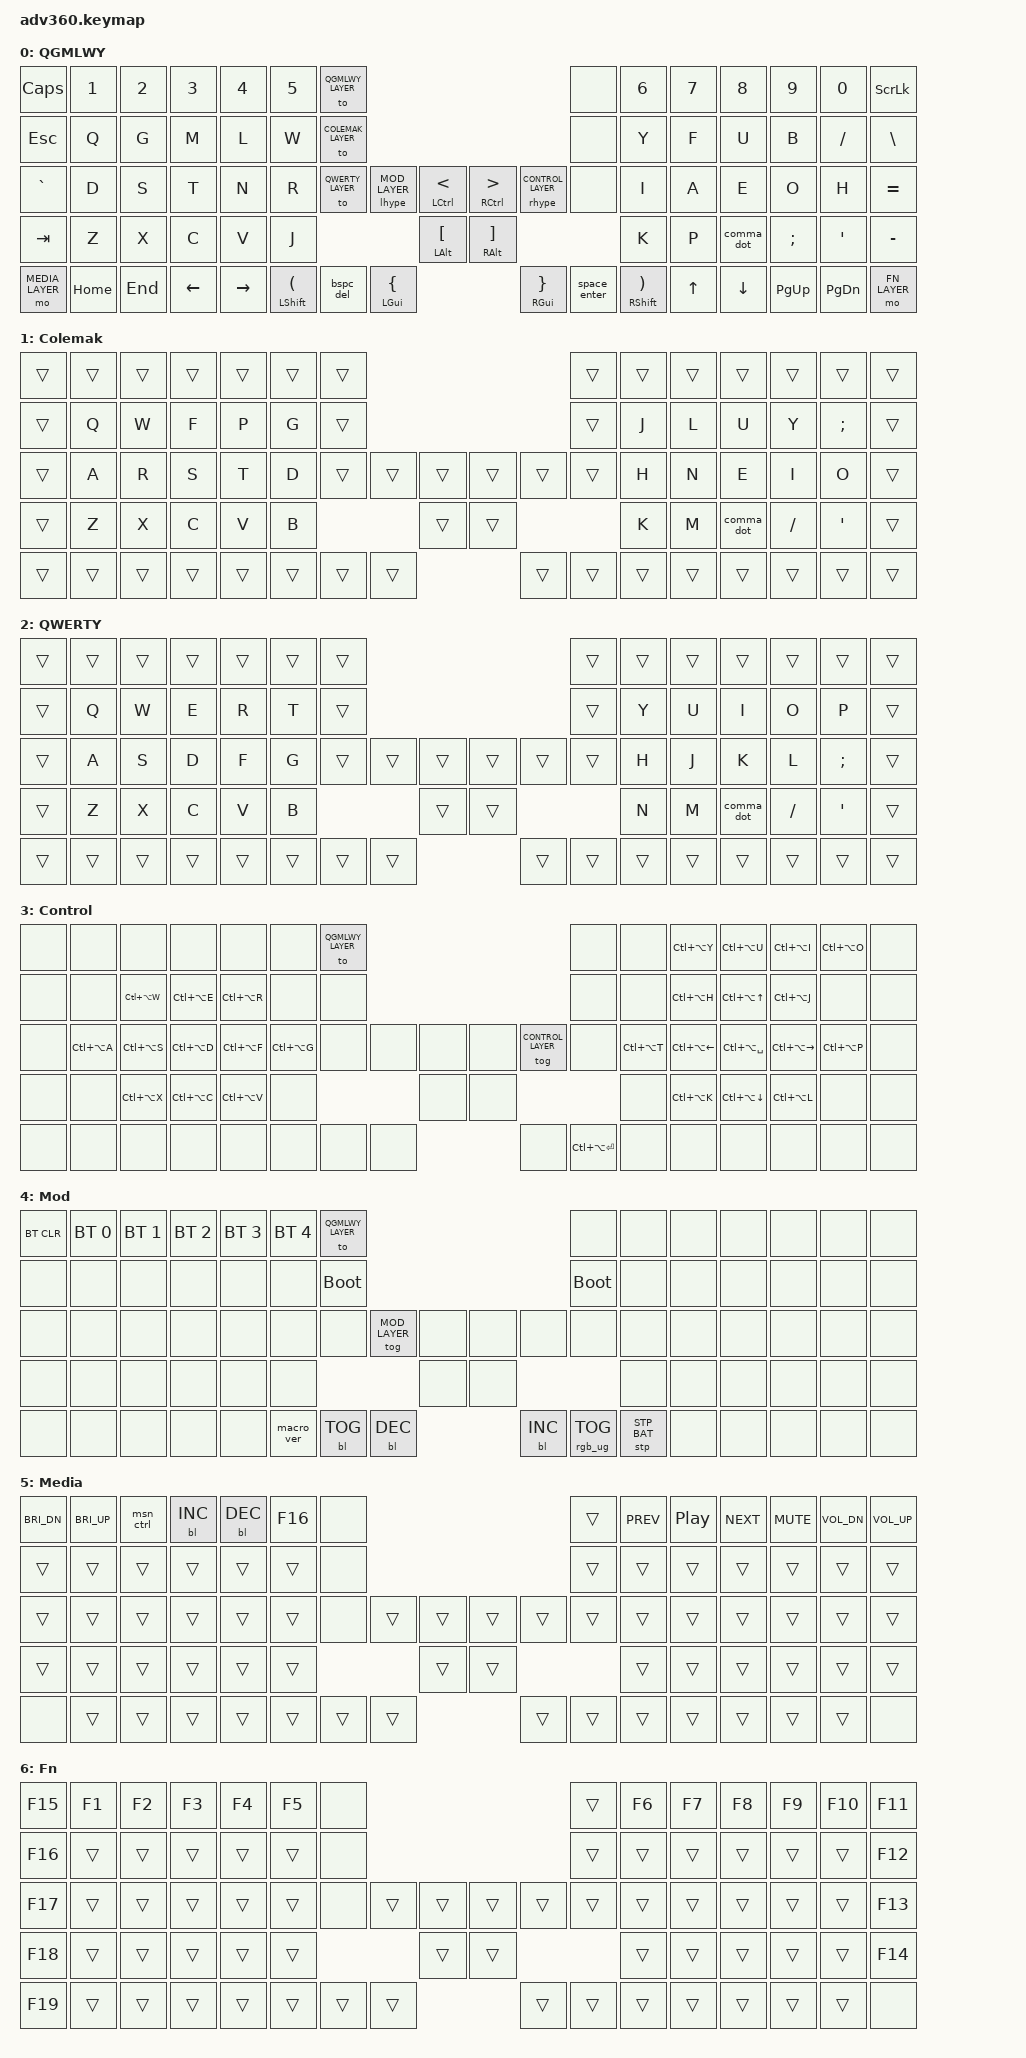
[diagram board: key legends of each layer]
// Visualize at: https://nickcoutsos.github.io/keymap-editor/

#include <behaviors.dtsi>
#include <dt-bindings/zmk/keys.h>
#include <dt-bindings/zmk/bt.h>
#include <dt-bindings/zmk/rgb.h>
#include <dt-bindings/zmk/stp.h>
#include <dt-bindings/zmk/backlight.h>
#include <dt-bindings/zmk/pointing.h>

#define QGMLWY_LAYER  0
#define COLEMAK_LAYER 1
#define QWERTY_LAYER  2
#define CONTROL_LAYER 3
#define MOD_LAYER     4
#define MEDIA_LAYER   5
#define FN_LAYER      6

/ {
    behaviors {
        #include "macros.dtsi"
        #include "version.dtsi"

        comma_dot: comma_dot {
            compatible = "zmk,behavior-mod-morph";
            #binding-cells = <0>;
            bindings = <&kp COMMA>, <&kp DOT>;
            mods = <(MOD_LSFT|MOD_RSFT)>;
        };

        bspc_del: backspace_delete {
            compatible = "zmk,behavior-mod-morph";
            #binding-cells = <0>;
            bindings = <&kp BACKSPACE>, <&kp DELETE>;
            mods = <(MOD_LSFT|MOD_RSFT)>;
            keep-mods = <(MOD_LSFT)>;
        };

        space_enter: space_enter {
            compatible = "zmk,behavior-mod-morph";
            #binding-cells = <0>;
            bindings = <&kp SPACE>, <&kp ENTER>;
            mods = <(MOD_LSFT|MOD_RSFT)>;
            keep-mods = <(MOD_RSFT)>;
        };

        mt2: mod_tap2 {
            compatible = "zmk,behavior-hold-tap";
            #binding-cells = <2>;
            flavor = "hold-preferred";
            tapping-term-ms = <200>;
            bindings = <&kp>, <&kp>;
            /* Ignore thumb keys. */
            hold-trigger-key-positions
                = <0>,  <1>,  <2>,  <3>,  <4>,  <5>,  <6>,              <7>,  <8>,  <9>,  <10>, <11>, <12>, <13>
                , <14>, <15>, <16>, <17>, <18>, <19>, <20>,             <21>, <22>, <23>, <24>, <25>, <26>, <27>
                , <28>, <29>, <30>, <31>, <32>, <33>, <34>,             <39>, <40>, <41>, <42>, <43>, <44>, <45>
                , <46>, <47>, <48>, <49>, <50>, <51>,                         <54>, <55>, <56>, <57>, <58>, <59>
                , <60>, <61>, <62>, <63>, <64>,             <66>, <69>,             <71>, <72>, <73>, <74>, <75>
                ;
        };

        lhypet: left_hyper_hold_toggle {
            compatible = "zmk,behavior-hold-tap";
            #binding-cells = <2>;
            flavor = "hold-preferred";
            tapping-term-ms = <200>;
            bindings = <&lhype>, <&tog>;
            /* Ignore thumb keys. */
            hold-trigger-key-positions
                = <0>,  <1>,  <2>,  <3>,  <4>,  <5>,  <6>,              <7>,  <8>,  <9>,  <10>, <11>, <12>, <13>
                , <14>, <15>, <16>, <17>, <18>, <19>, <20>,             <21>, <22>, <23>, <24>, <25>, <26>, <27>
                , <28>, <29>, <30>, <31>, <32>, <33>, <34>,             <39>, <40>, <41>, <42>, <43>, <44>, <45>
                , <46>, <47>, <48>, <49>, <50>, <51>,                         <54>, <55>, <56>, <57>, <58>, <59>
                , <60>, <61>, <62>, <63>, <64>,             <66>, <69>,             <71>, <72>, <73>, <74>, <75>
                ;
        };

        rhypet: right_hyper_hold_toggle {
            compatible = "zmk,behavior-hold-tap";
            #binding-cells = <2>;
            flavor = "hold-preferred";
            tapping-term-ms = <200>;
            bindings = <&rhype>, <&tog>;
            /* Ignore thumb keys. */
            hold-trigger-key-positions
                = <0>,  <1>,  <2>,  <3>,  <4>,  <5>,  <6>,              <7>,  <8>,  <9>,  <10>, <11>, <12>, <13>
                , <14>, <15>, <16>, <17>, <18>, <19>, <20>,             <21>, <22>, <23>, <24>, <25>, <26>, <27>
                , <28>, <29>, <30>, <31>, <32>, <33>, <34>,             <39>, <40>, <41>, <42>, <43>, <44>, <45>
                , <46>, <47>, <48>, <49>, <50>, <51>,                         <54>, <55>, <56>, <57>, <58>, <59>
                , <60>, <61>, <62>, <63>, <64>,             <66>, <69>,             <71>, <72>, <73>, <74>, <75>
                ;
        };
    };

    macros {
        msn_ctrl: mission_control {
            compatible = "zmk,behavior-macro";
            wait-ms = <0>;
            tap-ms = <0>;
            #binding-cells = <0>;
            bindings
                = <&macro_press &kp LCTRL>
                , <&macro_tap &kp UP>
                , <&macro_release &kp LCTRL>
                ;
        };

        lhype: left_hyper {
            compatible = "zmk,behavior-macro";
            wait-ms = <0>;
            tap-ms = <0>;
            #binding-cells = <0>;
            bindings
                = <&macro_press &kp LSHFT>
                , <&macro_press &kp LCTRL>
                , <&macro_press &kp LALT>
                , <&macro_press &kp LGUI>
                , <&macro_pause_for_release>
                , <&macro_release &kp LSHFT>
                , <&macro_release &kp LCTRL>
                , <&macro_release &kp LALT>
                , <&macro_release &kp LGUI>
                ;
        };

        rhype: right_hyper {
            compatible = "zmk,behavior-macro";
            wait-ms = <0>;
            tap-ms = <0>;
            #binding-cells = <0>;
            bindings
                = <&macro_press &kp RSHFT>
                , <&macro_press &kp RCTRL>
                , <&macro_press &kp RALT>
                , <&macro_press &kp RGUI>
                , <&macro_pause_for_release>
                , <&macro_release &kp RSHFT>
                , <&macro_release &kp RCTRL>
                , <&macro_release &kp RALT>
                , <&macro_release &kp RGUI>
                ;
        };
    };

    keymap {
        compatible = "zmk,keymap";

        qgmlwy {
            display-name = "QGMLWY";
            bindings = <
                &kp CAPS         &kp N1    &kp N2   &kp N3    &kp N4     &kp N5  &to QGMLWY_LAYER                                                                                                                   &none  &kp N6  &kp N7  &kp N8      &kp N9     &kp N0     &kp SLCK
                &kp ESC          &kp Q     &kp G    &kp M     &kp L      &kp W   &to COLEMAK_LAYER                                                                                                                  &none  &kp Y   &kp F   &kp U       &kp B      &kp FSLH   &kp BSLH
                &kp GRAVE        &kp D     &kp S    &kp T     &kp N      &kp R   &to QWERTY_LAYER                    &lhypet 0 MOD_LAYER  &mt2 LCTRL LT   &mt2 RCTRL GT   &rhypet 0 CONTROL_LAYER                   &none  &kp I   &kp A   &kp E       &kp O      &kp H      &kp EQUAL
                &kp TAB          &kp Z     &kp X    &kp C     &kp V      &kp J                                                            &mt2 LALT LBKT  &mt2 RALT RBKT                                                   &kp K   &kp P   &comma_dot  &kp SEMI   &kp SQT    &kp MINUS
                &mo MEDIA_LAYER  &kp HOME  &kp END  &kp LEFT  &kp RIGHT                             &mt2 LSHFT LPAR  &bspc_del            &mt2 LGUI LBRC  &mt2 RGUI RBRC  &space_enter             &mt2 RSHFT RPAR                 &kp UP  &kp DOWN    &kp PG_UP  &kp PG_DN  &mo FN_LAYER
            >;
        };
        colemak {
            display-name = "Colemak";
            bindings = <
                &trans  &trans    &trans   &trans    &trans     &trans  &trans                                                  &trans  &trans  &trans  &trans      &trans     &trans    &trans
                &trans  &kp Q     &kp W    &kp F     &kp P      &kp G   &trans                                                  &trans  &kp J   &kp L   &kp U       &kp Y      &kp SEMI  &trans
                &trans  &kp A     &kp R    &kp S     &kp T      &kp D   &trans          &trans  &trans  &trans  &trans          &trans  &kp H   &kp N   &kp E       &kp I      &kp O     &trans
                &trans  &kp Z     &kp X    &kp C     &kp V      &kp B                           &trans  &trans                          &kp K   &kp M   &comma_dot  &kp FSLH   &kp SQT   &trans
                &trans  &trans    &trans   &trans    &trans                     &trans  &trans  &trans  &trans  &trans  &trans                  &trans  &trans      &trans     &trans    &trans
            >;
        };
        qwerty {
            display-name = "QWERTY";
            bindings = <
                &trans  &trans    &trans   &trans    &trans     &trans  &trans                                                  &trans  &trans  &trans  &trans      &trans     &trans    &trans
                &trans  &kp Q     &kp W    &kp E     &kp R      &kp T   &trans                                                  &trans  &kp Y   &kp U   &kp I       &kp O      &kp P     &trans
                &trans  &kp A     &kp S    &kp D     &kp F      &kp G   &trans          &trans  &trans  &trans  &trans          &trans  &kp H   &kp J   &kp K       &kp L      &kp SEMI  &trans
                &trans  &kp Z     &kp X    &kp C     &kp V      &kp B                           &trans  &trans                          &kp N   &kp M   &comma_dot  &kp FSLH   &kp SQT   &trans
                &trans  &trans    &trans   &trans    &trans                     &trans  &trans  &trans  &trans  &trans  &trans                  &trans  &trans      &trans     &trans    &trans
            >;
        };
        control {
            display-name = "Control";
            bindings = <
                &none   &none          &none          &none          &none          &none          &to QGMLWY_LAYER                                                         &none  &none          &kp LC(LA(Y))     &kp LC(LA(U))      &kp LC(LA(I))      &kp LC(LA(O))  &none
                &none   &none          &kp LC(LA(W))  &kp LC(LA(E))  &kp LC(LA(R))  &none          &none                                                                    &none  &none          &kp LC(LA(H))     &kp LC(LA(UP))     &kp LC(LA(J))      &none          &none
                &none   &kp LC(LA(A))  &kp LC(LA(S))  &kp LC(LA(D))  &kp LC(LA(F))  &kp LC(LA(G))  &none                    &none  &none  &none  &tog CONTROL_LAYER         &none  &kp LC(LA(T))  &kp LC(LA(LEFT))  &kp LC(LA(SPACE))  &kp LC(LA(RIGHT))  &kp LC(LA(P))  &none
                &none   &none          &kp LC(LA(X))  &kp LC(LA(C))  &kp LC(LA(V))  &none                                          &none  &none                                    &none          &kp LC(LA(K))     &kp LC(LA(DOWN))   &kp LC(LA(L))      &none          &none
                &none   &none          &none          &none          &none                                           &none  &none  &none  &none  &kp LC(LA(ENTER))   &none                        &none             &none              &none              &none          &none
            >;
        };
        mod {
            display-name = "Mod";
            bindings = <
                &bt BT_CLR  &bt BT_SEL 0  &bt BT_SEL 1  &bt BT_SEL 2  &bt BT_SEL 3  &bt BT_SEL 4  &to QGMLWY_LAYER                                                                                     &none        &none  &none  &none  &none  &none  &none
                &none       &none         &none         &none         &none         &none         &bootloader                                                                                          &bootloader  &none  &none  &none  &none  &none  &none
                &none       &none         &none         &none         &none         &none         &none                         &tog MOD_LAYER  &none       &none       &none                          &none        &none  &none  &none  &none  &none  &none
                &none       &none         &none         &none         &none         &none                                                       &none       &none                                                   &none  &none  &none  &none  &none  &none
                &none       &none         &none         &none         &none                                         &macro_ver  &bl BL_TOG      &bl BL_DEC  &bl BL_INC  &rgb_ug RGB_TOG  &stp STP_BAT                      &none  &none  &none  &none  &none
            >;
        };
        media {
            display-name = "Media";
            bindings = <
                &kp C_BRI_DN  &kp C_BRI_UP  &msn_ctrl  &bl BL_INC  &bl BL_DEC  &kp F16  &none                                             &trans  &kp C_PREV  &kp C_PP  &kp C_NEXT  &kp C_MUTE  &kp C_VOL_DN  &kp C_VOL_UP
                &trans        &trans        &trans     &trans      &trans      &trans   &none                                             &trans  &trans      &trans    &trans      &trans      &trans        &trans
                &trans        &trans        &trans     &trans      &trans      &trans   &none         &trans &trans &trans &trans         &trans  &trans      &trans    &trans      &trans      &trans        &trans
                &trans        &trans        &trans     &trans      &trans      &trans                        &trans &trans                        &trans      &trans    &trans      &trans      &trans        &trans
                &none         &trans        &trans     &trans      &trans                      &trans &trans &trans &trans &trans &trans                      &trans    &trans      &trans      &trans        &none
            >;
        };
        fn {
            display-name = "Fn";
            bindings = <
                &kp F15  &kp F1  &kp F2  &kp F3  &kp F4  &kp F5  &none                                              &trans  &kp F6  &kp F7  &kp F8  &kp F9  &kp F10  &kp F11
                &kp F16  &trans  &trans  &trans  &trans  &trans  &none                                              &trans  &trans  &trans  &trans  &trans  &trans   &kp F12
                &kp F17  &trans  &trans  &trans  &trans  &trans  &none          &trans &trans &trans &trans         &trans  &trans  &trans  &trans  &trans  &trans   &kp F13
                &kp F18  &trans  &trans  &trans  &trans  &trans                        &trans &trans                        &trans  &trans  &trans  &trans  &trans   &kp F14
                &kp F19  &trans  &trans  &trans  &trans                  &trans &trans &trans &trans &trans &trans                  &trans  &trans  &trans  &trans   &none
            >;
        };
    };
};
